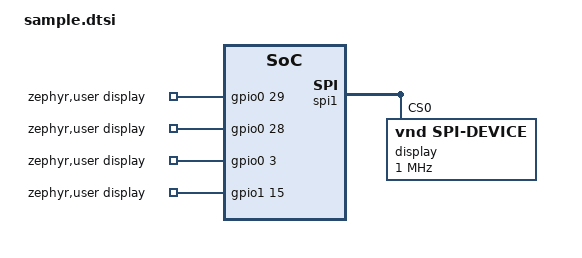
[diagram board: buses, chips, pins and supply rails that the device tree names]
&spi1{
	display:display@0{
		compatible = "vnd,spi-device";
    reg = <0>;
    spi-max-frequency = <1000000>;
  };
};

/{
  zephyr,user{
    display-gpios = <&gpio0 29 GPIO_ACTIVE_HIGH>, /* dc     22*/
                    <&gpio0 28 GPIO_ACTIVE_HIGH>, /* busy   24 */
                    <&gpio0 3 GPIO_ACTIVE_HIGH>,  /* reset  26 */
                    <&gpio1 15 GPIO_ACTIVE_HIGH>; /* power  30 */
  };
};
